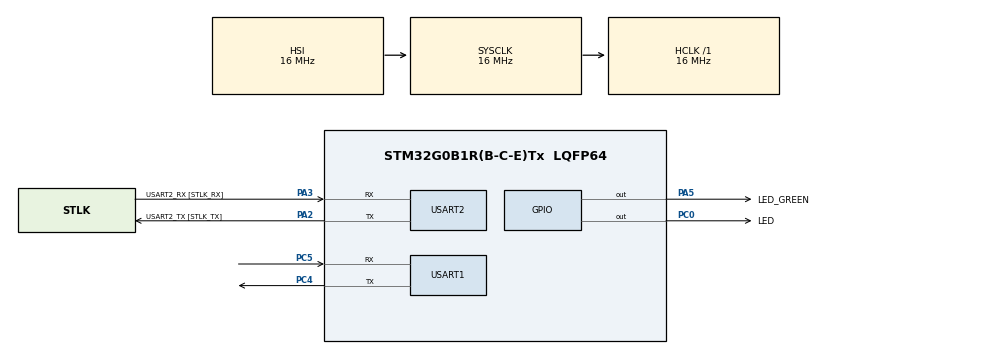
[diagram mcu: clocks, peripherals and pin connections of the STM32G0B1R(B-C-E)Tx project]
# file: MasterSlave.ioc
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Mcu.Family=STM32G0
Mcu.Name=STM32G0B1R(B-C-E)Tx
Mcu.Package=LQFP64
NVIC.USART1_IRQn=true\:0\:0\:false\:false\:true\:true\:true\:true
PA13.GPIO_Label=TMS
PA13.Mode=Serial_Wire
PA13.Signal=SYS_SWDIO
PA14-BOOT0.GPIO_Label=TCK
PA14-BOOT0.Mode=Serial_Wire
PA14-BOOT0.Signal=SYS_SWCLK
PA2.GPIO_Label=USART2_TX [STLK_TX]
PA2.Mode=Asynchronous
PA2.Signal=USART2_TX
PA3.GPIO_Label=USART2_RX [STLK_RX]
PA3.Mode=Asynchronous
PA3.Signal=USART2_RX
PA5.GPIO_Label=LED_GREEN
PA5.GPIO_Speed=GPIO_SPEED_FREQ_HIGH
PA5.Signal=GPIO_Output
PC0.GPIO_Label=LED
PC0.Signal=GPIO_Output
PC13.Mode=SYS_WakeUp1
PC13.Signal=SYS_WKUP2
PC14-OSC32_IN\ (PC14).Mode=LSE-External-Oscillator
PC14-OSC32_IN\ (PC14).Signal=RCC_OSC32_IN
PC15-OSC32_OUT\ (PC15).Mode=LSE-External-Oscillator
PC15-OSC32_OUT\ (PC15).Signal=RCC_OSC32_OUT
PC4.Mode=Asynchronous
PC4.Signal=USART1_TX
PC5.Mode=Asynchronous
PC5.Signal=USART1_RX
PF0-OSC_IN\ (PF0).GPIO_Label=MCO
PF0-OSC_IN\ (PF0).Mode=HSE-External-Clock-Source
PF0-OSC_IN\ (PF0).Signal=RCC_OSC_IN
ProjectManager.HeapSize=0x200
ProjectManager.StackSize=0x400
ProjectManager.TargetToolchain=STM32CubeIDE
RCC.AHBFreq_Value=16000000
RCC.CortexFreq_Value=16000000
RCC.EXTERNAL_CLOCK_VALUE=12288000
RCC.HCLKFreq_Value=16000000
RCC.HSE_VALUE=8000000
RCC.HSI48_VALUE=48000000
RCC.HSI_VALUE=16000000
RCC.SYSCLKFreq_VALUE=16000000
RCC.USBFreq_Value=48000000
RCC.VCOOutputFreq_Value=128000000
USART1.VirtualMode-Asynchronous=VM_ASYNC
USART2.VirtualMode-Asynchronous=VM_ASYNC
board=NUCLEO-G0B1RE

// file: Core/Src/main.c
/* USER CODE BEGIN Header */
/**
  ******************************************************************************
  * @file           : main.c
  * @brief          : Main program body
  ******************************************************************************
  * @attention
  *
  * Copyright (c) 2024 STMicroelectronics.
  * All rights reserved.
  *
  * This software is licensed under terms that can be found in the LICENSE file
  * in the root directory of this software component.
  * If no LICENSE file comes with this software, it is provided AS-IS.
  *
  ******************************************************************************
  */
/* USER CODE END Header */
#include "main.h"

/* USER CODE BEGIN Includes */
#include <string.h>
/* USER CODE END Includes */

/* USER CODE BEGIN PD */
#define SIZE_BUFFER 5
#define INIT_VALUE 0
#define TRUE 1
#define FALSE 0
#define TIME 3000
/* USER CODE END PD */

UART_HandleTypeDef huart1;
UART_HandleTypeDef huart2;

/* USER CODE BEGIN PV */
char bufferTx[SIZE_BUFFER] = "PING";
char bufferRx[SIZE_BUFFER];
/* USER CODE END PV */

void SystemClock_Config(void);
static void MX_GPIO_Init(void);
static void MX_USART2_UART_Init(void);
static void MX_USART1_UART_Init(void);
/* USER CODE BEGIN PFP */
uint8_t flag = TRUE;
/* USER CODE END PFP */

int main(void)
{

  /* MCU Configuration--------------------------------------------------------*/

  /* Reset of all peripherals, Initializes the Flash interface and the Systick. */
  HAL_Init();

  /* Configure the system clock */
  SystemClock_Config();

  /* Initialize all configured peripherals */
  MX_GPIO_Init();
  MX_USART2_UART_Init();
  MX_USART1_UART_Init();
  /* USER CODE BEGIN 2 */
  HAL_UART_Receive_IT(&huart1, (uint8_t*)&bufferRx[INIT_VALUE],SIZE_BUFFER);
  /* USER CODE END 2 */

  /* Infinite loop */
  /* USER CODE BEGIN WHILE */
  while (1)
  {
	  if(flag == TRUE)
	  {
		  HAL_UART_Transmit(&huart1, (uint8_t*)&bufferTx[INIT_VALUE],SIZE_BUFFER , HAL_MAX_DELAY);
		  HAL_Delay(TIME);

	  }

    /* USER CODE END WHILE */

  }
}

void SystemClock_Config(void)
{
  RCC_OscInitTypeDef RCC_OscInitStruct = {0};
  RCC_ClkInitTypeDef RCC_ClkInitStruct = {0};

  /** Configure the main internal regulator output voltage
  */
  HAL_PWREx_ControlVoltageScaling(PWR_REGULATOR_VOLTAGE_SCALE1);

  /** Initializes the RCC Oscillators according to the specified parameters
  * in the RCC_OscInitTypeDef structure.
  */
  RCC_OscInitStruct.OscillatorType = RCC_OSCILLATORTYPE_HSI;
  RCC_OscInitStruct.HSIState = RCC_HSI_ON;
  RCC_OscInitStruct.HSIDiv = RCC_HSI_DIV1;
  RCC_OscInitStruct.HSICalibrationValue = RCC_HSICALIBRATION_DEFAULT;
  RCC_OscInitStruct.PLL.PLLState = RCC_PLL_NONE;
  if (HAL_RCC_OscConfig(&RCC_OscInitStruct) != HAL_OK)
  {
    Error_Handler();
  }

  /** Initializes the CPU, AHB and APB buses clocks
  */
  RCC_ClkInitStruct.ClockType = RCC_CLOCKTYPE_HCLK|RCC_CLOCKTYPE_SYSCLK
                              |RCC_CLOCKTYPE_PCLK1;
  RCC_ClkInitStruct.SYSCLKSource = RCC_SYSCLKSOURCE_HSI;
  RCC_ClkInitStruct.AHBCLKDivider = RCC_SYSCLK_DIV1;
  RCC_ClkInitStruct.APB1CLKDivider = RCC_HCLK_DIV1;

  if (HAL_RCC_ClockConfig(&RCC_ClkInitStruct, FLASH_LATENCY_0) != HAL_OK)
  {
    Error_Handler();
  }
}

static void MX_USART1_UART_Init(void)
{

  huart1.Instance = USART1;
  huart1.Init.BaudRate = 115200;
  huart1.Init.WordLength = UART_WORDLENGTH_8B;
  huart1.Init.StopBits = UART_STOPBITS_1;
  huart1.Init.Parity = UART_PARITY_NONE;
  huart1.Init.Mode = UART_MODE_TX_RX;
  huart1.Init.HwFlowCtl = UART_HWCONTROL_NONE;
  huart1.Init.OverSampling = UART_OVERSAMPLING_16;
  huart1.Init.OneBitSampling = UART_ONE_BIT_SAMPLE_DISABLE;
  huart1.Init.ClockPrescaler = UART_PRESCALER_DIV1;
  huart1.AdvancedInit.AdvFeatureInit = UART_ADVFEATURE_NO_INIT;
  if (HAL_UART_Init(&huart1) != HAL_OK)
  {
    Error_Handler();
  }
  if (HAL_UARTEx_SetTxFifoThreshold(&huart1, UART_TXFIFO_THRESHOLD_1_8) != HAL_OK)
  {
    Error_Handler();
  }
  if (HAL_UARTEx_SetRxFifoThreshold(&huart1, UART_RXFIFO_THRESHOLD_1_8) != HAL_OK)
  {
    Error_Handler();
  }
  if (HAL_UARTEx_DisableFifoMode(&huart1) != HAL_OK)
  {
    Error_Handler();
  }

}

static void MX_USART2_UART_Init(void)
{

  huart2.Instance = USART2;
  huart2.Init.BaudRate = 115200;
  huart2.Init.WordLength = UART_WORDLENGTH_8B;
  huart2.Init.StopBits = UART_STOPBITS_1;
  huart2.Init.Parity = UART_PARITY_NONE;
  huart2.Init.Mode = UART_MODE_TX_RX;
  huart2.Init.HwFlowCtl = UART_HWCONTROL_NONE;
  huart2.Init.OverSampling = UART_OVERSAMPLING_16;
  huart2.Init.OneBitSampling = UART_ONE_BIT_SAMPLE_DISABLE;
  huart2.Init.ClockPrescaler = UART_PRESCALER_DIV1;
  huart2.AdvancedInit.AdvFeatureInit = UART_ADVFEATURE_NO_INIT;
  if (HAL_UART_Init(&huart2) != HAL_OK)
  {
    Error_Handler();
  }
  if (HAL_UARTEx_SetTxFifoThreshold(&huart2, UART_TXFIFO_THRESHOLD_1_8) != HAL_OK)
  {
    Error_Handler();
  }
  if (HAL_UARTEx_SetRxFifoThreshold(&huart2, UART_RXFIFO_THRESHOLD_1_8) != HAL_OK)
  {
    Error_Handler();
  }
  if (HAL_UARTEx_DisableFifoMode(&huart2) != HAL_OK)
  {
    Error_Handler();
  }

}

static void MX_GPIO_Init(void)
{
  GPIO_InitTypeDef GPIO_InitStruct = {0};

  /* GPIO Ports Clock Enable */
  __HAL_RCC_GPIOC_CLK_ENABLE();
  __HAL_RCC_GPIOF_CLK_ENABLE();
  __HAL_RCC_GPIOA_CLK_ENABLE();

  /*Configure GPIO pin Output Level */
  HAL_GPIO_WritePin(LED_GPIO_Port, LED_Pin, GPIO_PIN_RESET);

  /*Configure GPIO pin Output Level */
  HAL_GPIO_WritePin(LED_GREEN_GPIO_Port, LED_GREEN_Pin, GPIO_PIN_RESET);

  /*Configure GPIO pin : LED_Pin */
  GPIO_InitStruct.Pin = LED_Pin;
  GPIO_InitStruct.Mode = GPIO_MODE_OUTPUT_PP;
  GPIO_InitStruct.Pull = GPIO_NOPULL;
  GPIO_InitStruct.Speed = GPIO_SPEED_FREQ_LOW;
  HAL_GPIO_Init(LED_GPIO_Port, &GPIO_InitStruct);

  /*Configure GPIO pin : LED_GREEN_Pin */
  GPIO_InitStruct.Pin = LED_GREEN_Pin;
  GPIO_InitStruct.Mode = GPIO_MODE_OUTPUT_PP;
  GPIO_InitStruct.Pull = GPIO_NOPULL;
  GPIO_InitStruct.Speed = GPIO_SPEED_FREQ_HIGH;
  HAL_GPIO_Init(LED_GREEN_GPIO_Port, &GPIO_InitStruct);

}

/* USER CODE BEGIN 4 */
void HAL_UART_RxCpltCallback(UART_HandleTypeDef *huart){

	  if(huart->Instance == USART1)
	  {
		  HAL_UART_Receive_IT(&huart1, (uint8_t*)&bufferRx[INIT_VALUE],SIZE_BUFFER);

		  if(strcmp(bufferRx,"PONG") == !TRUE)
		  {
		  		HAL_GPIO_TogglePin(LED_GPIO_Port,LED_Pin);
		  		HAL_UART_Transmit(&huart1, (uint8_t*)&bufferTx[INIT_VALUE],SIZE_BUFFER , HAL_MAX_DELAY);
		  		flag = FALSE;
		  }
	  }

 }
/* USER CODE END 4 */

void Error_Handler(void)
{
  __disable_irq();
  while (1)
  {
  }
}
